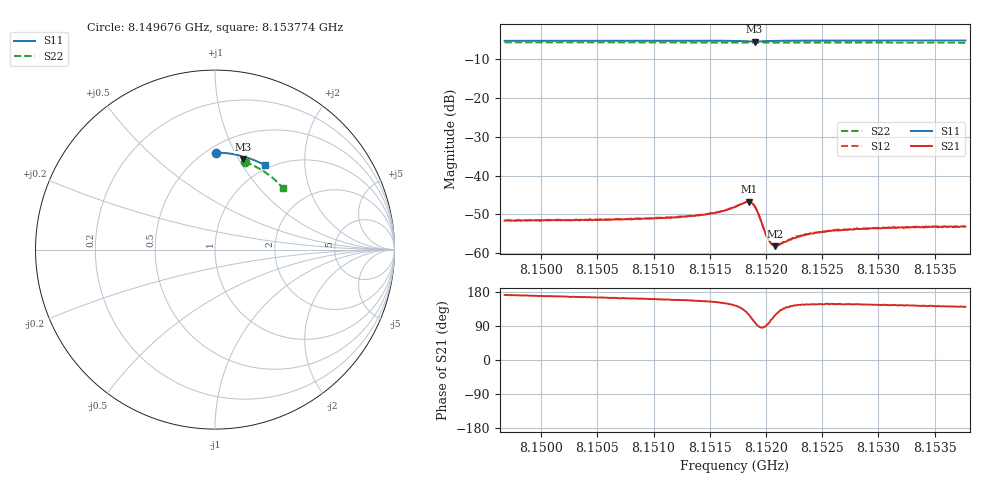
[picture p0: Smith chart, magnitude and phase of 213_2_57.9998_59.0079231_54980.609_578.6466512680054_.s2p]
#  HZ  S  RI  R  50.00
! Rohde & Schwarz Vector Network Analyzer
! Rohde-Schwarz,ZNB20-2Port,1311601062101988,3.16
! Created: UTC 3/21/2024, 12:59:50 AM
! freq[Hz]  re:S11  im:S11  re:S21  im:S21  re:S12  im:S12  re:S22  im:S22
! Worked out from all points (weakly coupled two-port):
!   401 points, 8.149676 GHz to 8.153774 GHz, reference 50 ohm
!   highest |S21| = -46.75 dB at 8.151848 GHz (marker M1); lowest = -58.1 dB at 8.152083 GHz (marker M2)
!   lowest |S11| = -5.6 dB at 8.151899 GHz (marker M3), VSWR 3.23, Z = 37.3 + j52.1 ohm
!   |S11| at or under -10 dB: nowhere
!   |S22| runs from -5.8 to -5.7 dB; largest |S21 - S12| = 0.00015
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8.1496755e9  0.00775 0.5396  -0.00261 0.000379  -0.00264 0.000438  0.1658 0.4886
8.150362e9  0.056 0.5377  -0.00261 0.000641  -0.00261 0.000705  0.207 0.4717
8.1510484e9  0.1039 0.5316  -0.00268 0.00097  -0.00269 0.00101  0.2463 0.4514
8.1512739e9  0.1198 0.5286  -0.00274 0.00112  -0.00277 0.00117  0.2589 0.4442
8.1514685e9  0.134 0.5251  -0.00289 0.00135  -0.00286 0.00143  0.2696 0.4373
8.1516017e9  0.1441 0.5219  -0.00304 0.0017  -0.00304 0.00172  0.2767 0.4329
8.1517247e9  0.1538 0.517  -0.00318 0.00232  -0.00318 0.00239  0.2833 0.4282
8.1518066e9  0.1591 0.5105  -0.00295 0.00336  -0.00291 0.00343  0.2875 0.4248
8.1518476e9  0.1592 0.5061  -0.00227 0.004  -0.00217 0.00409  0.2895 0.4233
8.1518783e9  0.1571 0.5038  -0.00135 0.0042  -0.00131 0.00423  0.2909 0.4223
8.1518988e9  0.1552 0.5038  -0.00071 0.00396  -0.000612 0.00404  0.2919 0.4215
8.1519296e9  0.1532 0.5058  5.18e-06 0.0033  4.5e-05 0.00331  0.2934 0.4205
8.151991e9  0.1557 0.5115  6.83e-05 0.00189  6.79e-05 0.00189  0.2965 0.4184
8.1520218e9  0.1585 0.513  -0.000148 0.0015  -0.000152 0.00152  0.2982 0.4173
8.1520525e9  0.1614 0.5138  -0.000387 0.00125  -0.000391 0.00124  0.2999 0.4161
8.1520833e9  0.1643 0.5139  -0.0006 0.00108  -0.000618 0.00112  0.3015 0.4151
8.1521242e9  0.1681 0.514  -0.000853 0.00099  -0.000843 0.00102  0.3036 0.4135
8.1522574e9  0.179 0.5121  -0.00127 0.000917  -0.00128 0.000957  0.3103 0.4084
8.1524111e9  0.1902 0.5088  -0.00151 0.000976  -0.00152 0.001  0.3181 0.4021
8.1526058e9  0.2036 0.5042  -0.00166 0.00104  -0.0017 0.00106  0.3276 0.394
8.1530976e9  0.236 0.491  -0.00174 0.00124  -0.00173 0.00129  0.3508 0.3727
8.1537738e9  0.2778 0.4698  -0.00171 0.00141  -0.00169 0.00146  0.38 0.3413
